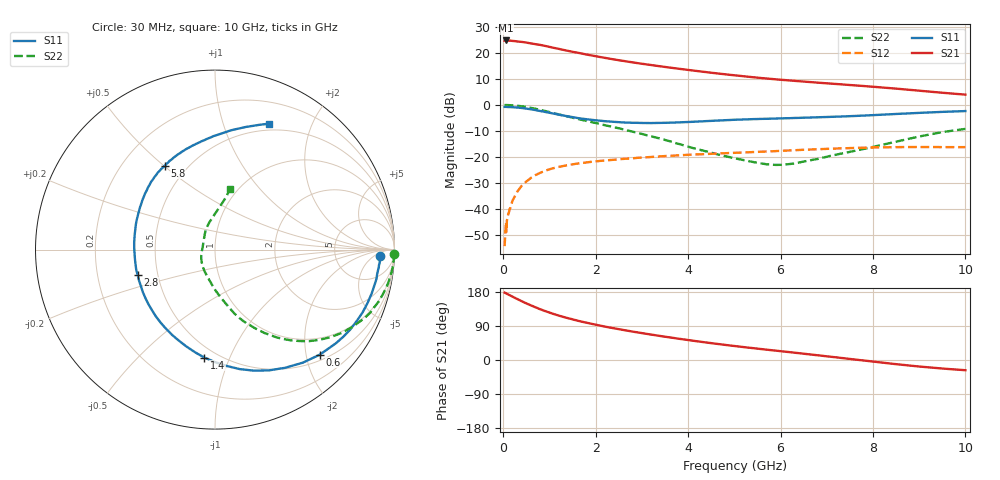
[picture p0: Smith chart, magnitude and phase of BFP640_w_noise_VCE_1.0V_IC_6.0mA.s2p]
! Infineon Technologies  Discrete & RF Semiconductors
! BFP640
! VCE =  1.0 V,  IC =  6.0 mA
! Common Emitter S-Parameters:  Apr 2013
# GHz  S  MA  R  50
!  f  S11  S21  S12  S22
! GHz  MAG  ANG  MAG  ANG  MAG  ANG  MAG  ANG
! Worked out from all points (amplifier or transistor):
!   99 points, 30 MHz to 10 GHz, reference 50 ohm
!   highest |S21| = 24.9 dB at 50 MHz (marker M1)
!   |S21| within 3 dB of that: start of sweep to 1.136 GHz
!   unconditionally stable (mu >= 1): 4.878 GHz to end of sweep
!   at 350 MHz: K = 0.10, MSG = 28.4 dB, |S12| = -32.3 dB
!   at 3.5 GHz: K = 0.86, MSG = 17.2 dB, |S12| = -19.7 dB
!   at 10 GHz: K = 1.13, MAG = 7.9 dB, |S12| = -16.2 dB
!   lowest NFmin = 0.56 dB at 450 MHz
!   S11 on the Smith chart (normalised r, x): 30 MHz: 19, -9; 600 MHz: 0.61, -2.27; 1.4 GHz: 0.43, -0.81; 2.8 GHz: 0.38, -0.14; 5.8 GHz: 0.38, +0.50; 10 GHz: 0.42, +1.43
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0.03  0.9189 -2.3  17.37 177.8  0.0019 95.0  0.9955 -1.4
0.05  0.9202 -3.7  17.53 176.8  0.0041 85.2  0.9983 -2.5
0.07  0.9177 -5.4  17.47 175.4  0.0036 92.5  0.9973 -3.5
0.15  0.9118 -11.6  17.4 170.3  0.0101 84.1  0.9905 -7.7
0.25  0.9006 -19.3  17.04 164.1  0.0173 81.1  0.977 -12.7
0.4  0.8753 -30.6  16.45 155.1  0.0277 73.7  0.9424 -20.1
0.5  0.8516 -37.9  15.97 149.5  0.0335 70.4  0.9138 -24.9
0.6  0.8266 -45.1  15.36 144.1  0.0393 66.7  0.8797 -29.2
0.8  0.7653 -59.4  14.39 133.9  0.0493 59.4  0.8059 -37.3
0.9  0.7367 -66.0  13.8 129.4  0.0537 56.3  0.7684 -40.9
1.2  0.651 -84.4  12.08 117.2  0.0641 48.5  0.6604 -50.0
1.4  0.6044 -95.6  11.06 110.4  0.0695 44.5  0.5982 -54.9
1.7  0.5452 -111.8  9.809 101.1  0.0761 39.6  0.5164 -61.0
2.2  0.4873 -136.0  8.105 88.1  0.085 33.3  0.4075 -70.1
2.8  0.4534 -161.9  6.636 74.9  0.0939 27.8  0.306 -78.8
3.4  0.4519 175.3  5.564 63.3  0.1024 22.6  0.225 -89.7
4.2  0.4796 150.7  4.51 49.3  0.1116 16.8  0.1408 -112.3
5.1  0.522 131.5  3.659 35.5  0.1206 10.8  0.0903 -148.5
5.8  0.5451 120.8  3.179 25.9  0.1281 6.5  0.0708 176.6
6.7  0.5756 108.7  2.743 13.9  0.1391 0.3  0.088 133.8
8.5  0.671 82.3  2.067 -11.0  0.1542 -14.7  0.1961 90.7
10  0.7635 66.8  1.584 -27.0  0.1542 -24.5  0.3464 76.1
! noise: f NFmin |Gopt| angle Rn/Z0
0.45  0.56  0.4  11  0.09
0.9  0.58  0.4  20  0.09
1.5  0.6  0.35  32  0.09
1.9  0.63  0.3  50  0.09
2.4  0.69  0.27  58  0.09
3.5  0.83  0.22  81  0.09
5.5  1.09  0.26  -150  0.11
10  1.75  0.61  -63  0.42
